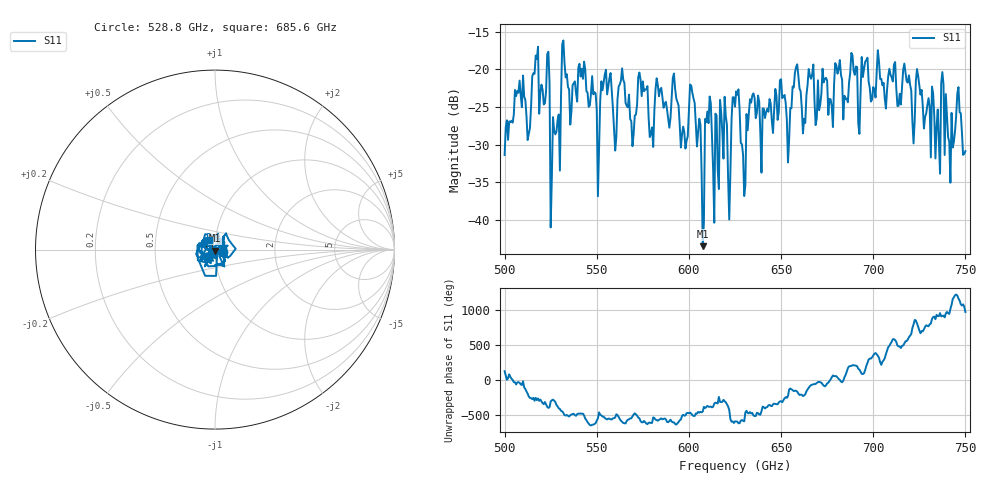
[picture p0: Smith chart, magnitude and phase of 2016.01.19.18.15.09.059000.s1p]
!Created with skrf (http://scikit-rf.org).
# GHz S RI R 50.0
!freq ReS11 ImS11
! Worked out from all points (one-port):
!   401 points, 500 GHz to 750 GHz, reference 50 ohm
!   lowest |S11| = -43.5 dB at 607.5 GHz (marker M1), VSWR 1.01, Z = 50 - j0.668 ohm
!   |S11| at or under -10 dB: start of sweep to end of sweep
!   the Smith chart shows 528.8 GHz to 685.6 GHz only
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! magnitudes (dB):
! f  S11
! 500 GHz  -31.4
! 506.9 GHz  -22.9
! 513.1 GHz  -28.5
! 516.9 GHz  -18.1
! 523.1 GHz  -17.9
! 526.2 GHz  -26.3
! 531.2 GHz  -16.7
! 542.5 GHz  -21.2
! 550.6 GHz  -36.9
! 562.5 GHz  -22.0
! 569.4 GHz  -30.2
! 573.8 GHz  -21.4
! 579.4 GHz  -28.5
! 593.8 GHz  -24.3
! 598.1 GHz  -30.5
! 601.9 GHz  -23.1
! 607.5 GHz  -43.5
! 610.6 GHz  -27.1
! 621.9 GHz  -40.0
! 625 GHz  -24.9
! 629.4 GHz  -31.3
! 634.4 GHz  -23.5
! 656.2 GHz  -22.3
! 687.5 GHz  -20.5
! 718.8 GHz  -21.7
! 735 GHz  -25.3
! 746.2 GHz  -22.4
! 750 GHz  -30.9
